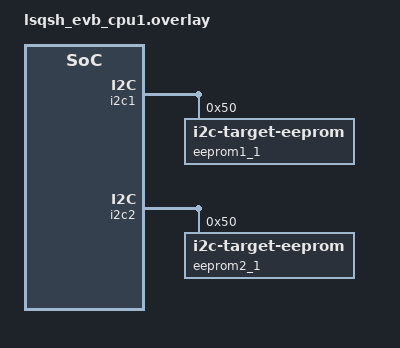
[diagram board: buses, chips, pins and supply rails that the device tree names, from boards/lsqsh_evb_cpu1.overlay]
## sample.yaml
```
sample:
  description: Hello World sample, the simplest Zephyr
    application
  name: i2c_test
common:
  tags: introduction
  integration_platforms:
    - native_sim
  harness: console
  harness_config:
    type: one_line
    regex:
      - "Hello World! (.*)"
tests:
  sample.basic.helloworld:
    tags: introduction
```

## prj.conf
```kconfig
CONFIG_I2C=y
CONFIG_I2C_TARGET=y
CONFIG_I2C_EEPROM_TARGET=y
CONFIG_ASSERT=y
```

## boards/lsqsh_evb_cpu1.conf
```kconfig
CONFIG_I2C=y
CONFIG_I2C_TARGET=y
CONFIG_I2C_EEPROM_TARGET=y
CONFIG_SMBUS=y
CONFIG_SMBUS_LINKEDSEMI_SMBALERT=n
```

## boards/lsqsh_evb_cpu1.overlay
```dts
/ {
    aliases {
        testi2c1 = &i2c1;
        testi2c2 = &i2c2;
        testeeprom1 = &eeprom1_1;
        testeeprom2 = &eeprom2_1;
    };
};

&i2c1 {
    status = "okay";

    eeprom1_1: eeprom@50 {
        compatible = "zephyr,i2c-target-eeprom";
        reg = <0x50>;
        size = <256>;
    };
};

&i2c2 {
    status = "okay";

    eeprom2_1: eeprom@50 {
        compatible = "zephyr,i2c-target-eeprom";
        reg = <0x50>;
        size = <256>;
    };
};
```

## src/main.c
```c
/*
 * Copyright (c) 2012-2014 Wind River Systems, Inc.
 *
 * SPDX-License-Identifier: Apache-2.0
 */
#include <zephyr/drivers/i2c.h>
#include <zephyr/kernel.h>
#include <stdlib.h>
#include <stdio.h>
#include "ls_soc_gpio.h"
#define BUF_SIZE 256
uint8_t wdata_buf[BUF_SIZE];
uint8_t rdata_buf[BUF_SIZE];
static void write_read_compare(const struct device *const i2c,uint16_t dev_addr,const uint8_t *wdata,uint8_t *rdata,uint16_t len)
{
	i2c_burst_write(i2c,dev_addr,0,wdata,len);
#if 0
	io_toggle_pin(PA02);
#endif
	i2c_burst_read(i2c,dev_addr,0,rdata,len);
	if(memcmp(wdata,rdata,len))
	{
		printf("len: %d\n", len);
		printf("wdata: ");
		for(uint32_t i = 0; i < len; i++)
		{
			printf("%x ", wdata[i]);
		}
		printf("\n\n");
		printf("len: %d\n", len);
		printf("rdata: ");
		for(uint32_t i = 0; i < len; i++)
		{
			printf("%x ", rdata[i]);
		}
		printf("\n\n");
		__ASSERT(0,"wdata rdata not match\n");
	}
#if 0
	else
	{
		printf("len: %d\n", len);
		printf("data: ");
		for(uint32_t i = 0; i < len; i++)
		{
			printf("%x ", wdata[i]);
		}
		printf("\n\n");
	}
#endif
}

static void gen_rand_data(uint8_t *buf,uint16_t len)
{
	while(len--)
	{
		*buf++=rand();
	}
}

int main(void)
{
	printf("Hello World! %s\n", CONFIG_BOARD_TARGET);

	const struct device *const i2c1 = DEVICE_DT_GET(DT_ALIAS(testi2c1));
	const struct device *const i2c2 = DEVICE_DT_GET(DT_ALIAS(testi2c2));
	static const struct device *eeprom1 = DEVICE_DT_GET(DT_ALIAS(testeeprom1));
	static const struct device *eeprom2 = DEVICE_DT_GET(DT_ALIAS(testeeprom2));
	static const uint16_t dev_addr1 = DT_REG_ADDR(DT_ALIAS(testeeprom1));
	static const uint16_t dev_addr2 = DT_REG_ADDR(DT_ALIAS(testeeprom2));
	static const uint16_t dev_addr = dev_addr1;

	if (dev_addr1 != dev_addr2) {
		__ASSERT(0,"addr1 should equal to addr2\n");
	}
	if (!device_is_ready(i2c1)) {
		__ASSERT(0,"I2C device is not ready\n");
	}
	if (i2c_configure(i2c1, I2C_SPEED_SET(I2C_SPEED_STANDARD) | I2C_MODE_CONTROLLER) )
	{
		__ASSERT(0,"I2C device config failed\n");
	}
	if (!device_is_ready(i2c2)) {
		__ASSERT(0,"I2C device is not ready\n");
	}
	if (i2c_configure(i2c2, I2C_SPEED_SET(I2C_SPEED_STANDARD) | I2C_MODE_CONTROLLER) )
	{
		__ASSERT(0,"I2C device config failed\n");
	}
	if (!device_is_ready(eeprom1)) {
		printk("eeprom device not ready\n");
		return 0;
	}

	if (i2c_target_driver_register(eeprom1) < 0) {
		printk("Failed to register i2c target driver\n");
		return 0;
	}
	if (!device_is_ready(eeprom2)) {
		printk("eeprom device not ready\n");
		return 0;
	}

	if (i2c_target_driver_register(eeprom2) < 0) {
		printk("Failed to register i2c target driver\n");
		return 0;
	}
#if 0
	io_cfg_output(PA02);
#endif

	while(1)
	{
		for(uint16_t len = 1;len<=BUF_SIZE;len++)
		{
			gen_rand_data(wdata_buf,len);
			write_read_compare(i2c2,dev_addr,wdata_buf,rdata_buf,len);
			write_read_compare(i2c1,dev_addr,wdata_buf,rdata_buf,len);
		}
	}

	// io_cfg_output(PF01);
	// struct i2c_msg msg[2];
	// uint8_t data[50];
	// msg[0].buf = data;
	// msg[0].len = 3U;
	// msg[0].flags = I2C_MSG_READ;

	// msg[1].buf = data;
	// msg[1].len = 20;
	// msg[1].flags = I2C_MSG_READ | I2C_MSG_STOP;

	// i2c_transfer(i2c_dev, msg, 2, dev_addr);

	// uint16_t reg_addr=0x56;
	// uint8_t value;
	// i2c_write_read(i2c_dev, dev_addr,
	// 		      &reg_addr, sizeof(reg_addr),
	// 		      &value, sizeof(value));
	// msg[0].buf = (uint8_t *)&msg;
	// msg[0].len = 10U;
	// msg[0].flags = I2C_MSG_WRITE;

	// msg[1].buf = (uint8_t *)&msg;
	// msg[1].len = 5;
	// msg[1].flags = I2C_MSG_WRITE | I2C_MSG_STOP;

	// i2c_transfer(i2c_dev, msg, 2, dev_addr);


	return 0;
}
```
